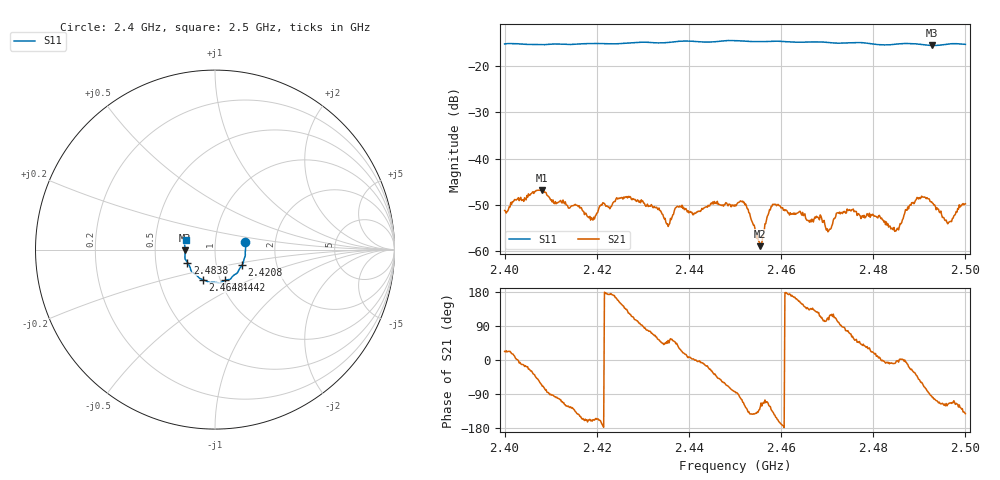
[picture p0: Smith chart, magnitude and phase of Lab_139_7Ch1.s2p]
# Hz S RI R 50
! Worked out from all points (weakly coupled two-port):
!   601 points, 2.4 GHz to 2.5 GHz, reference 50 ohm
!   highest |S21| = -46.77 dB at 2.4082 GHz (marker M1); lowest = -58.9 dB at 2.4555 GHz (marker M2)
!   lowest |S11| = -15.6 dB at 2.4928 GHz (marker M3), VSWR 1.40, Z = 35.8 - j0.352 ohm
!   |S11| at or under -10 dB: start of sweep to end of sweep
!   S12 and S22 are empty: the file has one direction only
!   S11 on the Smith chart (normalised r, x): 2.4 GHz: 1.40, +0.12; 2.4208 GHz: 1.33, -0.24; 2.4442 GHz: 1.05, -0.37; 2.4648 GHz: 0.83, -0.29; 2.4838 GHz: 0.73, -0.11; 2.5 GHz: 0.72, +0.08
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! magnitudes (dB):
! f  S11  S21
! 2.4 GHz  -15.2  -51.2
! 2.4082 GHz  -15.4  -46.8
! 2.4167 GHz  -15.2  -50.6
! 2.4208 GHz  -15.2  -50.1
! 2.4333 GHz  -15.0  -51.0
! 2.4355 GHz  -15.0  -54.6
! 2.4375 GHz  -14.7  -50.3
! 2.4442 GHz  -14.9  -50.1
! 2.45 GHz  -14.5  -50.0
! 2.4522 GHz  -14.7  -50.0
! 2.4555 GHz  -14.8  -58.9
! 2.4583 GHz  -14.7  -49.9
! 2.4648 GHz  -14.9  -52.3
! 2.4667 GHz  -14.8  -53.1
! 2.4703 GHz  -15.0  -55.6
! 2.4752 GHz  -15.0  -51.3
! 2.4833 GHz  -15.5  -54.8
! 2.4838 GHz  -15.4  -55.2
! 2.4897 GHz  -15.3  -48.5
! 2.4928 GHz  -15.6  -49.6
! 2.4965 GHz  -15.3  -53.7
! 2.5 GHz  -15.4  -49.7
